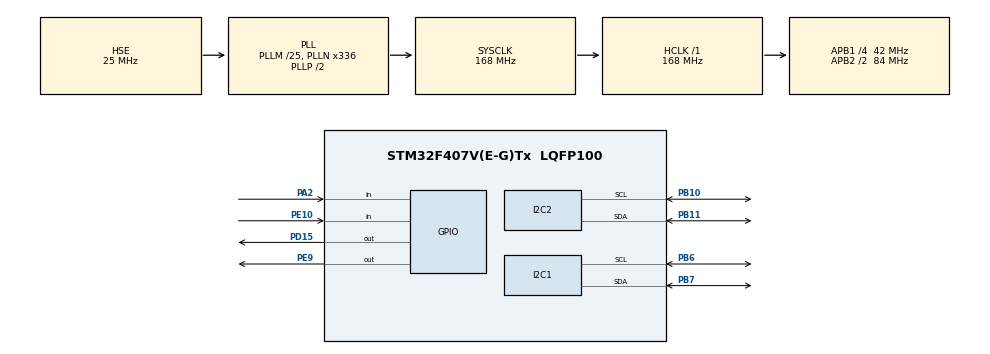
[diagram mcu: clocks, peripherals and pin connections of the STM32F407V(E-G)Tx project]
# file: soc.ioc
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Mcu.Family=STM32F4
Mcu.Name=STM32F407V(E-G)Tx
Mcu.Package=LQFP100
NVIC.PriorityGroup=NVIC_PRIORITYGROUP_4
PA13.Mode=Serial_Wire
PA13.Signal=SYS_JTMS-SWDIO
PA14.Mode=Serial_Wire
PA14.Signal=SYS_JTCK-SWCLK
PA2.GPIO_PuPd=GPIO_PULLUP
PA2.Signal=GPIO_Input
PB10.Mode=I2C
PB10.Signal=I2C2_SCL
PB11.Mode=I2C
PB11.Signal=I2C2_SDA
PB6.Mode=I2C
PB6.Signal=I2C1_SCL
PB7.Mode=I2C
PB7.Signal=I2C1_SDA
PD15.Signal=GPIO_Output
PE10.Signal=GPIO_Input
PE9.Signal=GPIO_Output
PH0-OSC_IN.Mode=HSE-External-Oscillator
PH0-OSC_IN.Signal=RCC_OSC_IN
PH1-OSC_OUT.Mode=HSE-External-Oscillator
PH1-OSC_OUT.Signal=RCC_OSC_OUT
ProjectManager.HeapSize=0x200
ProjectManager.StackSize=0x400
ProjectManager.TargetToolchain=MDK-ARM V5.32
RCC.48MHZClocksFreq_Value=84000000
RCC.AHBFreq_Value=168000000
RCC.APB1CLKDivider=RCC_HCLK_DIV4
RCC.APB1Freq_Value=42000000
RCC.APB1TimFreq_Value=84000000
RCC.APB2CLKDivider=RCC_HCLK_DIV2
RCC.APB2Freq_Value=84000000
RCC.APB2TimFreq_Value=168000000
RCC.CortexFreq_Value=168000000
RCC.HCLKFreq_Value=168000000
RCC.HSE_VALUE=25000000
RCC.HSI_VALUE=16000000
RCC.LSE_VALUE=32768
RCC.PLLM=25
RCC.PLLN=336
RCC.PLLSourceVirtual=RCC_PLLSOURCE_HSE
RCC.SYSCLKFreq_VALUE=168000000
RCC.SYSCLKSource=RCC_SYSCLKSOURCE_PLLCLK
RCC.VCOOutputFreq_Value=336000000
TIM1.Prescaler=83
TIM8.Prescaler=83
VP_TIM1_VS_ClockSourceINT.Mode=Internal
VP_TIM8_VS_ClockSourceINT.Mode=Internal
board=custom

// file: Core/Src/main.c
/* USER CODE BEGIN Header */
/**
  ******************************************************************************
  * @file           : main.c
  * @brief          : Main program body
  ******************************************************************************
  * @attention
  *
  * Copyright (c) 2025 STMicroelectronics.
  * All rights reserved.
  *
  * This software is licensed under terms that can be found in the LICENSE file
  * in the root directory of this software component.
  * If no LICENSE file comes with this software, it is provided AS-IS.
  *
  ******************************************************************************
  */
/* USER CODE END Header */
#include "main.h"

I2C_HandleTypeDef hi2c1;
I2C_HandleTypeDef hi2c2;

TIM_HandleTypeDef htim1;
TIM_HandleTypeDef htim8;

void SystemClock_Config(void);
static void MX_GPIO_Init(void);
static void MX_I2C1_Init(void);
static void MX_I2C2_Init(void);
static void MX_TIM1_Init(void);
static void MX_TIM8_Init(void);

/* USER CODE BEGIN 0 */
uint8_t dem=0;
uint32_t echo_us, distance;
void delay_us(uint32_t time){
	HAL_TIM_Base_Start(&htim1);
	htim1.Instance->CNT=0;
	while(htim1.Instance->CNT<time);
	HAL_TIM_Base_Stop(&htim1);
}
void delay_ms(uint32_t time){
	for(int i=0; i<time; i++){
		delay_us(1000);
	}
}

float read_hc(void){
	HAL_GPIO_WritePin(GPIOE,GPIO_PIN_9,1);
	delay_us(10);
	HAL_GPIO_WritePin(GPIOE,GPIO_PIN_9,0);
	while(HAL_GPIO_ReadPin(GPIOE, GPIO_PIN_10) == 0); // Cho muc cao
	HAL_TIM_Base_Start(&htim8);
	htim8.Instance->CNT=0;
	while(HAL_GPIO_ReadPin(GPIOE, GPIO_PIN_10) == 1);	// Cho muc thap
	echo_us = htim8.Instance->CNT;
	HAL_TIM_Base_Stop(&htim8);
	uint8_t dis = (echo_us)/29;
	delay_ms(60);
	return dis;
}

/* USER CODE END 0 */

int main(void)
{

  /* MCU Configuration--------------------------------------------------------*/

  /* Reset of all peripherals, Initializes the Flash interface and the Systick. */
  HAL_Init();

  /* Configure the system clock */
  SystemClock_Config();

  /* Initialize all configured peripherals */
  MX_GPIO_Init();
  MX_I2C1_Init();
  MX_I2C2_Init();
  MX_TIM1_Init();
  MX_TIM8_Init();
  /* USER CODE BEGIN 2 */
	uint8_t status;
  /* USER CODE END 2 */

  /* Infinite loop */
  while (1)
  {

    /* USER CODE BEGIN 3 */
//		status = HAL_GPIO_ReadPin(GPIOA, GPIO_PIN_2);
//		if(status == 0){
//			HAL_Delay(100);
//			HAL_GPIO_TogglePin(GPIOD, GPIO_PIN_15);
//		dem++;
//		}

			distance = read_hc();
  }
  /* USER CODE END 3 */
}

void SystemClock_Config(void)
{
  RCC_OscInitTypeDef RCC_OscInitStruct = {0};
  RCC_ClkInitTypeDef RCC_ClkInitStruct = {0};

  /** Configure the main internal regulator output voltage
  */
  __HAL_RCC_PWR_CLK_ENABLE();
  __HAL_PWR_VOLTAGESCALING_CONFIG(PWR_REGULATOR_VOLTAGE_SCALE1);

  /** Initializes the RCC Oscillators according to the specified parameters
  * in the RCC_OscInitTypeDef structure.
  */
  RCC_OscInitStruct.OscillatorType = RCC_OSCILLATORTYPE_HSE;
  RCC_OscInitStruct.HSEState = RCC_HSE_ON;
  RCC_OscInitStruct.PLL.PLLState = RCC_PLL_ON;
  RCC_OscInitStruct.PLL.PLLSource = RCC_PLLSOURCE_HSE;
  RCC_OscInitStruct.PLL.PLLM = 25;
  RCC_OscInitStruct.PLL.PLLN = 336;
  RCC_OscInitStruct.PLL.PLLP = RCC_PLLP_DIV2;
  RCC_OscInitStruct.PLL.PLLQ = 4;
  if (HAL_RCC_OscConfig(&RCC_OscInitStruct) != HAL_OK)
  {
    Error_Handler();
  }

  /** Initializes the CPU, AHB and APB buses clocks
  */
  RCC_ClkInitStruct.ClockType = RCC_CLOCKTYPE_HCLK|RCC_CLOCKTYPE_SYSCLK
                              |RCC_CLOCKTYPE_PCLK1|RCC_CLOCKTYPE_PCLK2;
  RCC_ClkInitStruct.SYSCLKSource = RCC_SYSCLKSOURCE_PLLCLK;
  RCC_ClkInitStruct.AHBCLKDivider = RCC_SYSCLK_DIV1;
  RCC_ClkInitStruct.APB1CLKDivider = RCC_HCLK_DIV4;
  RCC_ClkInitStruct.APB2CLKDivider = RCC_HCLK_DIV2;

  if (HAL_RCC_ClockConfig(&RCC_ClkInitStruct, FLASH_LATENCY_5) != HAL_OK)
  {
    Error_Handler();
  }
}

static void MX_I2C1_Init(void)
{

  hi2c1.Instance = I2C1;
  hi2c1.Init.ClockSpeed = 100000;
  hi2c1.Init.DutyCycle = I2C_DUTYCYCLE_2;
  hi2c1.Init.OwnAddress1 = 0;
  hi2c1.Init.AddressingMode = I2C_ADDRESSINGMODE_7BIT;
  hi2c1.Init.DualAddressMode = I2C_DUALADDRESS_DISABLE;
  hi2c1.Init.OwnAddress2 = 0;
  hi2c1.Init.GeneralCallMode = I2C_GENERALCALL_DISABLE;
  hi2c1.Init.NoStretchMode = I2C_NOSTRETCH_DISABLE;
  if (HAL_I2C_Init(&hi2c1) != HAL_OK)
  {
    Error_Handler();
  }

}

static void MX_I2C2_Init(void)
{

  hi2c2.Instance = I2C2;
  hi2c2.Init.ClockSpeed = 100000;
  hi2c2.Init.DutyCycle = I2C_DUTYCYCLE_2;
  hi2c2.Init.OwnAddress1 = 0;
  hi2c2.Init.AddressingMode = I2C_ADDRESSINGMODE_7BIT;
  hi2c2.Init.DualAddressMode = I2C_DUALADDRESS_DISABLE;
  hi2c2.Init.OwnAddress2 = 0;
  hi2c2.Init.GeneralCallMode = I2C_GENERALCALL_DISABLE;
  hi2c2.Init.NoStretchMode = I2C_NOSTRETCH_DISABLE;
  if (HAL_I2C_Init(&hi2c2) != HAL_OK)
  {
    Error_Handler();
  }

}

static void MX_TIM1_Init(void)
{

  TIM_ClockConfigTypeDef sClockSourceConfig = {0};
  TIM_MasterConfigTypeDef sMasterConfig = {0};

  htim1.Instance = TIM1;
  htim1.Init.Prescaler = 83;
  htim1.Init.CounterMode = TIM_COUNTERMODE_UP;
  htim1.Init.Period = 65535;
  htim1.Init.ClockDivision = TIM_CLOCKDIVISION_DIV1;
  htim1.Init.RepetitionCounter = 0;
  htim1.Init.AutoReloadPreload = TIM_AUTORELOAD_PRELOAD_DISABLE;
  if (HAL_TIM_Base_Init(&htim1) != HAL_OK)
  {
    Error_Handler();
  }
  sClockSourceConfig.ClockSource = TIM_CLOCKSOURCE_INTERNAL;
  if (HAL_TIM_ConfigClockSource(&htim1, &sClockSourceConfig) != HAL_OK)
  {
    Error_Handler();
  }
  sMasterConfig.MasterOutputTrigger = TIM_TRGO_RESET;
  sMasterConfig.MasterSlaveMode = TIM_MASTERSLAVEMODE_DISABLE;
  if (HAL_TIMEx_MasterConfigSynchronization(&htim1, &sMasterConfig) != HAL_OK)
  {
    Error_Handler();
  }

}

static void MX_TIM8_Init(void)
{

  TIM_ClockConfigTypeDef sClockSourceConfig = {0};
  TIM_MasterConfigTypeDef sMasterConfig = {0};

  htim8.Instance = TIM8;
  htim8.Init.Prescaler = 83;
  htim8.Init.CounterMode = TIM_COUNTERMODE_UP;
  htim8.Init.Period = 65535;
  htim8.Init.ClockDivision = TIM_CLOCKDIVISION_DIV1;
  htim8.Init.RepetitionCounter = 0;
  htim8.Init.AutoReloadPreload = TIM_AUTORELOAD_PRELOAD_DISABLE;
  if (HAL_TIM_Base_Init(&htim8) != HAL_OK)
  {
    Error_Handler();
  }
  sClockSourceConfig.ClockSource = TIM_CLOCKSOURCE_INTERNAL;
  if (HAL_TIM_ConfigClockSource(&htim8, &sClockSourceConfig) != HAL_OK)
  {
    Error_Handler();
  }
  sMasterConfig.MasterOutputTrigger = TIM_TRGO_RESET;
  sMasterConfig.MasterSlaveMode = TIM_MASTERSLAVEMODE_DISABLE;
  if (HAL_TIMEx_MasterConfigSynchronization(&htim8, &sMasterConfig) != HAL_OK)
  {
    Error_Handler();
  }

}

static void MX_GPIO_Init(void)
{
  GPIO_InitTypeDef GPIO_InitStruct = {0};

  /* GPIO Ports Clock Enable */
  __HAL_RCC_GPIOH_CLK_ENABLE();
  __HAL_RCC_GPIOA_CLK_ENABLE();
  __HAL_RCC_GPIOE_CLK_ENABLE();
  __HAL_RCC_GPIOB_CLK_ENABLE();
  __HAL_RCC_GPIOD_CLK_ENABLE();

  /*Configure GPIO pin Output Level */
  HAL_GPIO_WritePin(GPIOE, GPIO_PIN_9, GPIO_PIN_RESET);

  /*Configure GPIO pin Output Level */
  HAL_GPIO_WritePin(GPIOD, GPIO_PIN_15, GPIO_PIN_RESET);

  /*Configure GPIO pin : PA2 */
  GPIO_InitStruct.Pin = GPIO_PIN_2;
  GPIO_InitStruct.Mode = GPIO_MODE_INPUT;
  GPIO_InitStruct.Pull = GPIO_PULLUP;
  HAL_GPIO_Init(GPIOA, &GPIO_InitStruct);

  /*Configure GPIO pin : PE9 */
  GPIO_InitStruct.Pin = GPIO_PIN_9;
  GPIO_InitStruct.Mode = GPIO_MODE_OUTPUT_PP;
  GPIO_InitStruct.Pull = GPIO_NOPULL;
  GPIO_InitStruct.Speed = GPIO_SPEED_FREQ_LOW;
  HAL_GPIO_Init(GPIOE, &GPIO_InitStruct);

  /*Configure GPIO pin : PE10 */
  GPIO_InitStruct.Pin = GPIO_PIN_10;
  GPIO_InitStruct.Mode = GPIO_MODE_INPUT;
  GPIO_InitStruct.Pull = GPIO_NOPULL;
  HAL_GPIO_Init(GPIOE, &GPIO_InitStruct);

  /*Configure GPIO pin : PD15 */
  GPIO_InitStruct.Pin = GPIO_PIN_15;
  GPIO_InitStruct.Mode = GPIO_MODE_OUTPUT_PP;
  GPIO_InitStruct.Pull = GPIO_NOPULL;
  GPIO_InitStruct.Speed = GPIO_SPEED_FREQ_LOW;
  HAL_GPIO_Init(GPIOD, &GPIO_InitStruct);

}

void Error_Handler(void)
{
  __disable_irq();
  while (1)
  {
  }
}
